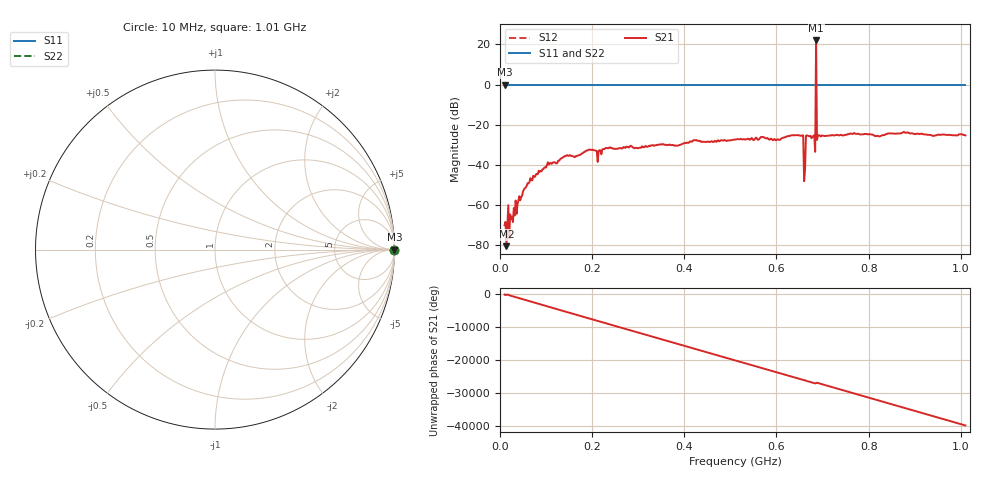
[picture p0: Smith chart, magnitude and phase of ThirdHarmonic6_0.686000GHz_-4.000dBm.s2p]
! 8/15/2025 10:53:09 PM
! C:\ANRITSUVNA\TEMP\TEMP.S2P
! CHANNEL.1
! TR.MEASUREMENT
! RAW.DATA
! RF.CORRECTION.OFF
! AVERAGING.OFF
! IF.BANDWIDTH: 5KHZ
! SWEEPTYPE:  FREQ.SWEEP(Linear)
! Reference Plane Port Info
! PORT:  PORT1  PORT2
! DISTANCE:  0  m  0  m
! TIME:  0  s  0  s
! PHASE.OFFSET:  0  deg.  0  deg.
! LOSS:  0  dB  0  dB
! REF.LOSS:  0  dB  0  dB
! REF.FREQ:  0  Hz  0  Hz
! Power Info
! POWER:  -20  dBm  -20  dBm
! EFF.POWER:  -20  dBm  -20  dBm
! SOURCE.ATTEN:  0  dB  0  dB
! TEST.ATTEN:  0  dB  0  dB
# GHZ S RI R 50.0
! FREQ.GHZ  S11RE  S11IM  S21RE  S21IM  S12RE  S12IM  S22RE  S22IM
!; PortSelection: Port_12
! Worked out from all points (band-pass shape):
!   501 points, 10 MHz to 1.01 GHz, reference 50 ohm
!   highest |S21| = 22.00 dB at 686 MHz (marker M1); lowest = -80.5 dB at 14 MHz (marker M2)
!   |S21| within 3 dB of the highest: 685.8918 MHz to 686.121 MHz (229.2 kHz wide, 0.0334 % of centre)
!   lowest |S11| = 0.0 dB at 10 MHz (marker M3)
!   |S11| at or under -10 dB: nowhere
!   |S22| runs from 0.0 to 0.0 dB; largest |S21 - S12| = 13
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0.01  1 0  0.000305 -7.67e-05  1 0  1 0
0.014  1 0  8.58e-05 -4.02e-05  1 0  1 0
0.022  1 0  0.000529 0.000254  1 0  1 0
0.024  1 0  0.000396 -0.000209  1 0  1 0
0.054  1 0  -0.00264 -0.000267  1 0  1 0
0.076  1 0  0.00507 0.000215  1 0  1 0
0.106  1 0  -0.00723 -0.00716  1 0  1 0
0.178  1 0  -0.019 -0.00435  1 0  1 0
0.344  1 0  0.031 -0.00613  1 0  1 0
0.51  1 0  -0.0403 0.0151  1 0  1 0
0.654  1 0  -0.0337 0.0416  1 0  1 0
0.658  1 0  0.0469 -0.0272  1 0  1 0
0.664  1 0  0.00174 0.0531  1 0  1 0
0.668  1 0  0.0111 -0.0525  1 0  1 0
0.678  1 0  -0.0243 -0.0434  1 0  1 0
0.68  1 0  -0.0503 0.0168  1 0  1 0
0.682  1 0  0.00903 0.0535  1 0  1 0
0.686  1 0  -1.178 12.53  1 0  1 0
0.69  1 0  -0.025 0.0485  1 0  1 0
0.692  1 0  0.0438 0.0332  1 0  1 0
0.844  1 0  0.0455 0.0409  1 0  1 0
1.01  1 0  -0.0524 -0.0139  1 0  1 0
